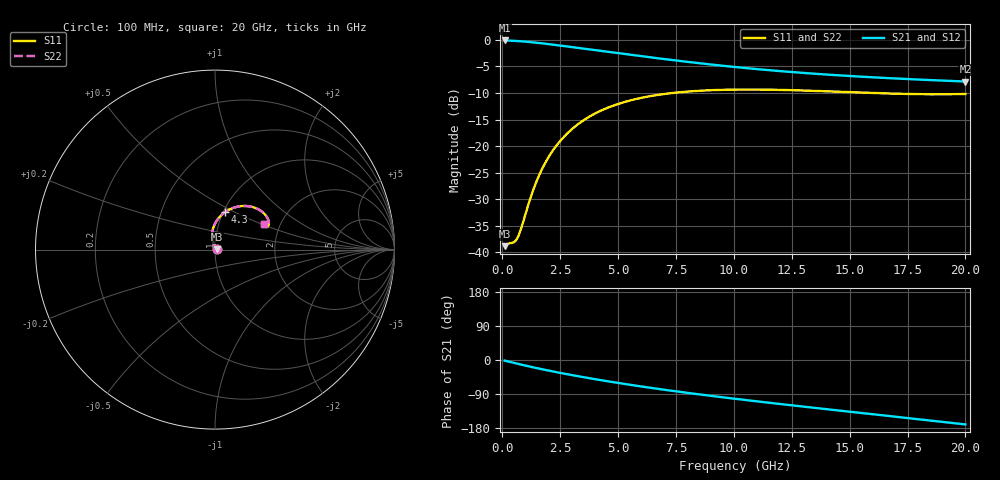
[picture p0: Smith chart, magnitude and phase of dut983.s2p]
! Touchstone file exported from HFSS 2024.1.0
!  File:  C:/UserFiles/LocalFiles/RDL_TSV_Batchsim/temp_RDL_TSV_983_1779973815.aedt
!  Generated:  09:24:15 PM May 28, 2026
!  Design:  RDL_TSV
!  Project:  temp_RDL_TSV_983_1779973815
!  Setup:  Setup1
!  Solution:  Sweep
! Variables:
!  dtsv = 11.36um
!  hbump = 3um
!  htsv = 53.05um
!  ldown = 372.64um
!  lrdl = 361.81um
!  p = 40
!  p1 = 52.76um
!  rhole = 10um
!  subl = 2565.16um
!  t = 450um
!  tdown = 3.53um
!  trdl = 4.62um
!  viad = 10um
!  wdown = 27.4um
!  wrdl = 16.85um
!  xbump = 18um
# GHz S MA R 50.000000
! Terminal data exported
! Port[1] = TM1_1_T1
! Port[2] = TM1_4_T1
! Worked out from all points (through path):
!   200 points, 100 MHz to 20 GHz, reference 50 ohm
!   highest |S21| = -0.10 dB at 100 MHz (marker M1); lowest = -7.8 dB at 20 GHz (marker M2)
!   group delay of S21, straight-line fit = 22.2 ps
!   lowest |S11| = -38.8 dB at 100 MHz (marker M3), VSWR 1.02, Z = 51.1 + j0.213 ohm
!   |S11| at or under -10 dB: start of sweep to 7.33 GHz; 16.05 GHz to end of sweep
!   |S22| runs from -38.8 to -9.3 dB; largest |S21 - S12| = 1.5e-14
!   S11 on the Smith chart (normalised r, x): 100 MHz: 1.02, +0.00; 4.3 GHz: 1.02, +0.45; 20 GHz: 1.66, +0.52
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0.1  0.01145 10.5  0.9883 -1.6  0.9883 -1.6  0.01145 10.5
! Gamma 0 0 0 0
! Port Impedance 50 0 50 0
0.3  0.01217 26.9  0.9852 -4.6  0.9852 -4.6  0.01217 26.9
0.5  0.01246 45.6  0.9806 -7.6  0.9806 -7.6  0.01246 45.6
0.6  0.01306 57.1  0.9778 -9.0  0.9778 -9.0  0.01306 57.1
0.7  0.01434 68.8  0.9746 -10.5  0.9746 -10.5  0.01434 68.8
0.8  0.01643 79.1  0.9711 -11.9  0.9711 -11.9  0.01643 79.1
1.2  0.03173 100.7  0.9543 -17.6  0.9543 -17.6  0.03174 100.7
1.4  0.04218 103.6  0.9446 -20.3  0.9446 -20.3  0.0422 103.6
1.7  0.05986 103.8  0.929 -24.2  0.929 -24.2  0.05987 103.9
2  0.07894 101.8  0.9126 -28.0  0.9126 -28.0  0.07896 101.8
2.3  0.09866 98.6  0.8958 -31.7  0.8958 -31.7  0.09868 98.6
2.7  0.125 93.8  0.8733 -36.4  0.8733 -36.4  0.125 93.8
3.5  0.1747 83.8  0.8291 -45.3  0.8291 -45.3  0.1748 83.8
4.3  0.2179 74.6  0.7865 -53.6  0.7865 -53.6  0.218 74.6
5.4  0.265 63.6  0.7315 -64.3  0.7315 -64.3  0.265 63.6
6.8  0.3056 52.2  0.6685 -76.8  0.6685 -76.8  0.3057 52.2
8.4  0.3311 42.1  0.6072 -89.9  0.6072 -89.9  0.3312 42.1
10.1  0.3409 34.2  0.5544 -102.7  0.5544 -102.7  0.341 34.2
11.7  0.3397 28.9  0.515 -114.1  0.515 -114.1  0.3397 28.9
13.4  0.332 25.3  0.482 -125.7  0.482 -125.7  0.3319 25.3
16.7  0.313 23.8  0.4366 -147.8  0.4366 -147.8  0.313 23.8
20  0.3097 27.4  0.4059 -170.0  0.4059 -170.0  0.3097 27.5
